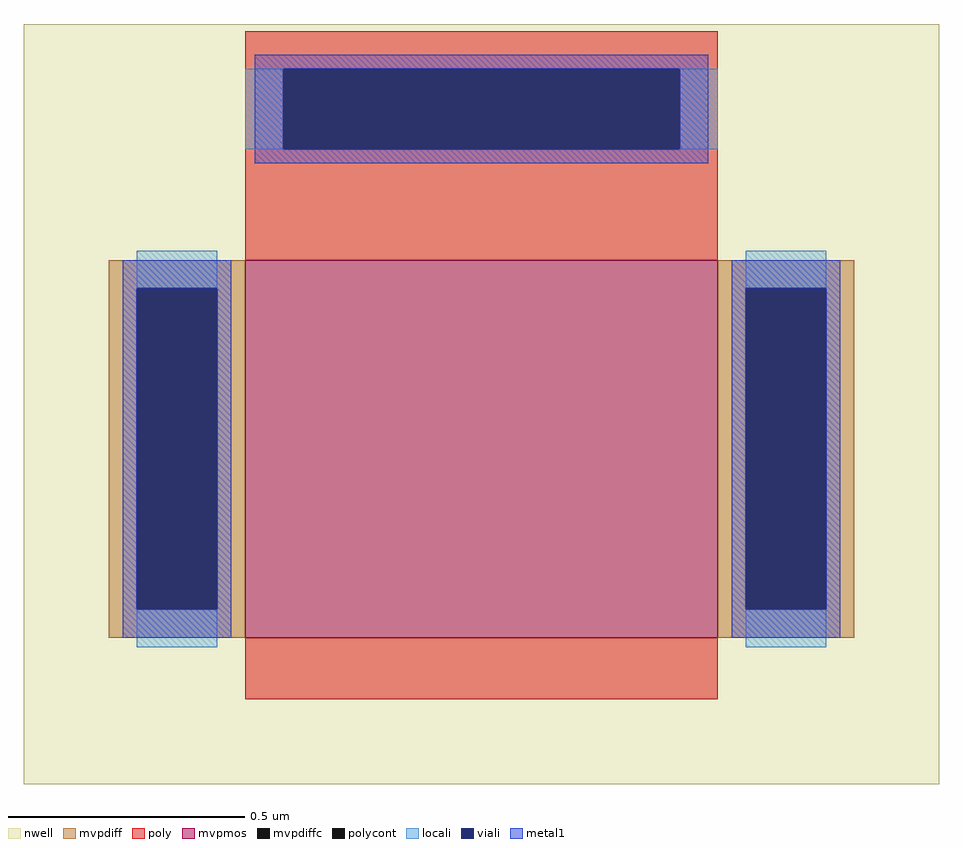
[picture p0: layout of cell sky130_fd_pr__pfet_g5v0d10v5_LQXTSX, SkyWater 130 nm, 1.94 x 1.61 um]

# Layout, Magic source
magic
tech sky130A
magscale 1 2
<< nwell >>
rect -194 -178 194 144
<< mvpmos >>
rect -100 -116 100 44
<< mvpdiff >>
rect -158 32 -100 44
rect -158 -104 -146 32
rect -112 -104 -100 32
rect -158 -116 -100 -104
rect 100 32 158 44
rect 100 -104 112 32
rect 146 -104 158 32
rect 100 -116 158 -104
<< mvpdiffc >>
rect -146 -104 -112 32
rect 112 -104 146 32
<< poly >>
rect -100 125 100 141
rect -100 91 -84 125
rect 84 91 100 125
rect -100 44 100 91
rect -100 -142 100 -116
<< polycont >>
rect -84 91 84 125
<< locali >>
rect -100 91 -84 125
rect 84 91 100 125
rect -146 32 -112 48
rect -146 -120 -112 -104
rect 112 32 146 48
rect 112 -120 146 -104
<< viali >>
rect -84 91 84 125
rect -146 -104 -112 32
rect 112 -104 146 32
<< metal1 >>
rect -96 125 96 131
rect -96 91 -84 125
rect 84 91 96 125
rect -96 85 96 91
rect -152 32 -106 44
rect -152 -104 -146 32
rect -112 -104 -106 32
rect -152 -116 -106 -104
rect 106 32 152 44
rect 106 -104 112 32
rect 146 -104 152 32
rect 106 -116 152 -104
<< properties >>
string gencell sky130_fd_pr__pfet_g5v0d10v5
string library sky130
string parameters w 0.8 l 1 m 1 nf 1 diffcov 100 polycov 100 guard 0 glc 1 grc 1 gtc 1 gbc 1 tbcov 100 rlcov 100 topc 1 botc 0 poverlap 0 doverlap 1 lmin 0.50 wmin 0.42 compatible {sky130_fd_pr__pfet_01v8  sky130_fd_pr__pfet_01v8_lvt sky130_fd_pr__pfet_01v8_hvt  sky130_fd_pr__pfet_g5v0d10v5} full_metal 0 viasrc 100 viadrn 100 viagate 100 viagb 0 viagr 0 viagl 0 viagt 0
<< end >>
